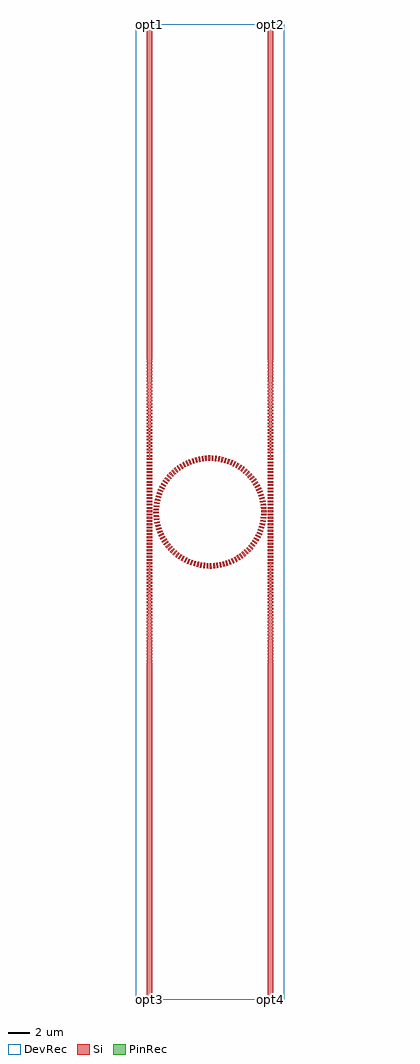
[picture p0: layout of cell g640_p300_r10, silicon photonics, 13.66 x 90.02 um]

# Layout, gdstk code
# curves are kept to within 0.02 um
import gdstk
lib = gdstk.Library(unit=1e-6, precision=1e-09)
def R(c, l, rs):  # rectangles x0, y0, x1, y1
    for r in rs: c.add(gdstk.rectangle(r[:2], r[2:], *l))
def A(c, l, x, y, w, h, nx, ny, dx, dy):  # array of equal rectangles
    R(c, l, [(x+i*dx, y+j*dy, x+i*dx+w, y+j*dy+h) for i in range(nx) for j in range(ny)])
def P(c, l, *ps):  # polygons
    for p in ps: c.add(gdstk.Polygon(p, *l))
Si = (1, 0)
PinRec = (1, 10)
DevRec = (68, 0)

g640_p300_r10 = lib.new_cell('g640_p300_r10')
A(g640_p300_r10, Si, 0, 40.5, 0.5, 0.15, 1, 31, 0, 0.3)
A(g640_p300_r10, Si, 11.16, 40.5, 0.5, 0.15, 1, 31, 0, 0.3)
P(g640_p300_r10, Si, [(0.617,44.847),(0.614,45.005),(1.114,45.005),(1.116,44.862)],
  [(10.468,45.85),(10.441,45.989),(10.93,46.094),(10.96,45.94)],
  [(1.22,45.994),(0.732,46.099),(0.767,46.253),(1.252,46.133)],
  [(10.13,46.935),(10.07,47.064),(10.52,47.283),(10.586,47.14)],
  [(1.592,47.068),(1.143,47.287),(1.214,47.428),(1.656,47.195)],
  [(8.023,49.175),(7.896,49.239),(8.115,49.689),(8.255,49.617)],
  [(3.768,49.241),(3.55,49.691),(3.692,49.757),(3.897,49.301)],
  [(7.767,49.3),(7.636,49.356),(7.828,49.818),(7.972,49.755)],
  [(4.028,49.358),(3.837,49.82),(3.983,49.878),(4.16,49.41)],
  [(7.504,49.409),(7.37,49.457),(7.533,49.93),(7.681,49.876)],
  [(4.294,49.459),(4.131,49.931),(4.281,49.98),(4.43,49.503)],
  [(7.235,49.502),(7.098,49.542),(7.233,50.024),(7.384,49.979)],
  [(4.566,49.543),(4.432,50.025),(4.585,50.065),(4.704,49.579)],
  [(6.96,49.578),(6.822,49.61),(6.927,50.099),(7.08,50.064)],
  [(4.843,49.611),(4.738,50.1),(4.893,50.131),(4.982,49.639)],
  [(6.682,49.638),(6.542,49.662),(6.617,50.156),(6.772,50.13)],
  [(5.123,49.662),(5.048,50.157),(5.204,50.178),(5.264,49.682)],
  [(6.4,49.681),(6.259,49.696),(6.304,50.194),(6.461,50.177)],
  [(5.406,49.696),(5.361,50.194),(5.518,50.206),(5.548,49.707)],
  [(6.117,49.707),(5.975,49.713),(5.99,50.213),(6.147,50.206)],
  [(5.69,49.714),(5.675,50.213),(5.832,50.216),(5.832,49.716)],
  [(10.006,47.191),(9.938,47.316),(10.373,47.561),(10.449,47.423)],
  [(1.724,47.32),(1.289,47.566),(1.369,47.702),(1.796,47.443)],
  [(9.866,47.439),(9.79,47.56),(10.21,47.831),(10.294,47.698)],
  [(10.409,46.128),(10.373,46.266),(10.854,46.4),(10.894,46.248)],
  [(1.289,46.27),(0.807,46.405),(0.852,46.556),(1.329,46.407)],
  [(1.872,47.563),(1.452,47.835),(1.54,47.966),(1.951,47.682)],
  [(9.711,47.678),(9.629,47.794),(10.032,48.09),(10.123,47.962)],
  [(2.034,47.798),(1.631,48.094),(1.727,48.22),(2.12,47.911)],
  [(9.543,47.907),(9.453,48.018),(9.837,48.338),(9.936,48.216)],
  [(10.511,45.568),(10.492,45.709),(10.986,45.785),(11.008,45.628)],
  [(1.169,45.714),(0.674,45.789),(0.701,45.945),(1.192,45.854)],
  [(2.21,48.022),(1.826,48.342),(1.929,48.461),(2.303,48.13)],
  [(10.332,46.403),(10.288,46.538),(10.761,46.701),(10.81,46.551)],
  [(1.374,46.542),(0.901,46.706),(0.955,46.854),(1.422,46.676)],
  [(9.36,48.126),(9.264,48.231),(9.629,48.574),(9.735,48.458)],
  [(2.399,48.235),(2.035,48.578),(2.145,48.691),(2.498,48.337)],
  [(9.165,48.334),(9.063,48.433),(9.406,48.797),(9.519,48.687)],
  [(2.6,48.436),(2.258,48.8),(2.374,48.906),(2.705,48.532)],
  [(8.958,48.529),(8.85,48.622),(9.17,49.006),(9.29,48.903)],
  [(10.546,45),(10.543,45.142),(11.043,45.157),(11.046,45)],
  [(1.117,45.147),(0.617,45.162),(0.624,45.32),(1.123,45.289)],
  [(10.239,46.672),(10.187,46.804),(10.649,46.995),(10.707,46.849)],
  [(1.475,46.808),(1.013,47),(1.076,47.144),(1.531,46.939)],
  [(2.813,48.625),(2.494,49.009),(2.616,49.108),(2.924,48.714)],
  [(8.739,48.711),(8.626,48.797),(8.922,49.2),(9.048,49.105)],
  [(3.038,48.8),(2.742,49.203),(2.87,49.294),(3.154,48.883)],
  [(10.537,45.285),(10.526,45.427),(11.024,45.472),(11.036,45.315)],
  [(1.134,45.431),(0.636,45.477),(0.653,45.633),(1.149,45.573)],
  [(8.51,48.88),(8.392,48.959),(8.663,49.379),(8.794,49.292)],
  [(3.272,48.962),(3.001,49.382),(3.135,49.465),(3.393,49.037)],
  [(8.271,49.035),(8.148,49.107),(8.394,49.542),(8.53,49.463)],
  [(3.516,49.109),(3.271,49.545),(3.409,49.62),(3.641,49.177)],
  [(0,49.8),(0,49.95),(0.218,49.95),(0.214,50.1),(0,50.1),(0,50.25),(0.211,50.25),(0.208,50.4),(0,50.4),(0,50.55),(0.205,50.55),(0.201,50.7),(0,50.7),(0,50.85),(0.198,50.85),(0.195,51),(0,51),(0,51.15),(0.191,51.15),(0.188,51.3),(0,51.3),(0,51.45),(0.185,51.45),(0.181,51.6),(0,51.6),(0,51.75),(0.178,51.75),(0.175,51.9),(0,51.9),(0,52.05),(0.172,52.05),(0.168,52.2),(0,52.2),(0,52.35),(0.165,52.35),(0.162,52.5),(0,52.5),(0,52.65),(0.158,52.65),(0.155,52.8),(0,52.8),(0,52.95),(0.152,52.95),(0.148,53.1),(0,53.1),(0,53.25),(0.145,53.25),(0.142,53.4),(0,53.4),(0,53.55),(0.139,53.55),(0.135,53.7),(0,53.7),(0,53.85),(0.132,53.85),(0.129,54),(0,54),(0,54.15),(0.125,54.15),(0.122,54.3),(0,54.3),(0,54.45),(0.119,54.45),(0.115,54.6),(0,54.6),(0,54.75),(0.112,54.75),(0.109,54.9),(0,54.9),(0,55.05),(0.106,55.05),(0.102,55.2),(0,55.2),(0,55.35),(0.099,55.35),(0.096,55.5),(0,55.5),(0,55.65),(0.092,55.65),(0.089,55.8),(0,55.8),(0,55.95),(0.086,55.95),(0.082,56.1),(0,56.1),(0,56.25),(0.079,56.25),(0.076,56.4),(0,56.4),(0,56.55),(0.073,56.55),(0.069,56.7),(0,56.7),(0,56.85),(0.066,56.85),(0.063,57),(0,57),(0,57.15),(0.059,57.15),(0.056,57.3),(0,57.3),(0,57.45),(0.053,57.45),(0.049,57.6),(0,57.6),(0,57.75),(0.046,57.75),(0.043,57.9),(0,57.9),(0,58.05),(0.04,58.05),(0.036,58.2),(0,58.2),(0,58.35),(0.033,58.35),(0.03,58.5),(0,58.5),(0,58.65),(0.026,58.65),(0.023,58.8),(0,58.8),(0,90),(0.5,90),(0.5,58.8),(0.477,58.8),(0.474,58.65),(0.5,58.65),(0.5,58.5),(0.47,58.5),(0.467,58.35),(0.5,58.35),(0.5,58.2),(0.464,58.2),(0.46,58.05),(0.5,58.05),(0.5,57.9),(0.457,57.9),(0.454,57.75),(0.5,57.75),(0.5,57.6),(0.45,57.6),(0.447,57.45),(0.5,57.45),(0.5,57.3),(0.444,57.3),(0.441,57.15),(0.5,57.15),(0.5,57),(0.437,57),(0.434,56.85),(0.5,56.85),(0.5,56.7),(0.431,56.7),(0.427,56.55),(0.5,56.55),(0.5,56.4),(0.424,56.4),(0.421,56.25),(0.5,56.25),(0.5,56.1),(0.417,56.1),(0.414,55.95),(0.5,55.95),(0.5,55.8),(0.411,55.8),(0.408,55.65),(0.5,55.65),(0.5,55.5),(0.404,55.5),(0.401,55.35),(0.5,55.35),(0.5,55.2),(0.398,55.2),(0.394,55.05),(0.5,55.05),(0.5,54.9),(0.391,54.9),(0.388,54.75),(0.5,54.75),(0.5,54.6),(0.384,54.6),(0.381,54.45),(0.5,54.45),(0.5,54.3),(0.378,54.3),(0.375,54.15),(0.5,54.15),(0.5,54),(0.371,54),(0.368,53.85),(0.5,53.85),(0.5,53.7),(0.365,53.7),(0.361,53.55),(0.5,53.55),(0.5,53.4),(0.358,53.4),(0.355,53.25),(0.5,53.25),(0.5,53.1),(0.351,53.1),(0.348,52.95),(0.5,52.95),(0.5,52.8),(0.345,52.8),(0.342,52.65),(0.5,52.65),(0.5,52.5),(0.338,52.5),(0.335,52.35),(0.5,52.35),(0.5,52.2),(0.332,52.2),(0.328,52.05),(0.5,52.05),(0.5,51.9),(0.325,51.9),(0.322,51.75),(0.5,51.75),(0.5,51.6),(0.318,51.6),(0.315,51.45),(0.5,51.45),(0.5,51.3),(0.312,51.3),(0.309,51.15),(0.5,51.15),(0.5,51),(0.305,51),(0.302,50.85),(0.5,50.85),(0.5,50.7),(0.299,50.7),(0.295,50.55),(0.5,50.55),(0.5,50.4),(0.292,50.4),(0.289,50.25),(0.5,50.25),(0.5,50.1),(0.285,50.1),(0.282,49.95),(0.5,49.95),(0.5,49.8)],
  [(11.16,49.8),(11.16,49.95),(11.378,49.95),(11.374,50.1),(11.16,50.1),(11.16,50.25),(11.371,50.25),(11.368,50.4),(11.16,50.4),(11.16,50.55),(11.365,50.55),(11.361,50.7),(11.16,50.7),(11.16,50.85),(11.358,50.85),(11.355,51),(11.16,51),(11.16,51.15),(11.351,51.15),(11.348,51.3),(11.16,51.3),(11.16,51.45),(11.345,51.45),(11.341,51.6),(11.16,51.6),(11.16,51.75),(11.338,51.75),(11.335,51.9),(11.16,51.9),(11.16,52.05),(11.332,52.05),(11.328,52.2),(11.16,52.2),(11.16,52.35),(11.325,52.35),(11.322,52.5),(11.16,52.5),(11.16,52.65),(11.318,52.65),(11.315,52.8),(11.16,52.8),(11.16,52.95),(11.312,52.95),(11.308,53.1),(11.16,53.1),(11.16,53.25),(11.305,53.25),(11.302,53.4),(11.16,53.4),(11.16,53.55),(11.299,53.55),(11.295,53.7),(11.16,53.7),(11.16,53.85),(11.292,53.85),(11.289,54),(11.16,54),(11.16,54.15),(11.285,54.15),(11.282,54.3),(11.16,54.3),(11.16,54.45),(11.279,54.45),(11.275,54.6),(11.16,54.6),(11.16,54.75),(11.272,54.75),(11.269,54.9),(11.16,54.9),(11.16,55.05),(11.266,55.05),(11.262,55.2),(11.16,55.2),(11.16,55.35),(11.259,55.35),(11.256,55.5),(11.16,55.5),(11.16,55.65),(11.252,55.65),(11.249,55.8),(11.16,55.8),(11.16,55.95),(11.246,55.95),(11.242,56.1),(11.16,56.1),(11.16,56.25),(11.239,56.25),(11.236,56.4),(11.16,56.4),(11.16,56.55),(11.233,56.55),(11.229,56.7),(11.16,56.7),(11.16,56.85),(11.226,56.85),(11.223,57),(11.16,57),(11.16,57.15),(11.219,57.15),(11.216,57.3),(11.16,57.3),(11.16,57.45),(11.213,57.45),(11.209,57.6),(11.16,57.6),(11.16,57.75),(11.206,57.75),(11.203,57.9),(11.16,57.9),(11.16,58.05),(11.2,58.05),(11.196,58.2),(11.16,58.2),(11.16,58.35),(11.193,58.35),(11.19,58.5),(11.16,58.5),(11.16,58.65),(11.186,58.65),(11.183,58.8),(11.16,58.8),(11.16,90),(11.66,90),(11.66,58.8),(11.637,58.8),(11.634,58.65),(11.66,58.65),(11.66,58.5),(11.63,58.5),(11.627,58.35),(11.66,58.35),(11.66,58.2),(11.624,58.2),(11.62,58.05),(11.66,58.05),(11.66,57.9),(11.617,57.9),(11.614,57.75),(11.66,57.75),(11.66,57.6),(11.61,57.6),(11.607,57.45),(11.66,57.45),(11.66,57.3),(11.604,57.3),(11.601,57.15),(11.66,57.15),(11.66,57),(11.597,57),(11.594,56.85),(11.66,56.85),(11.66,56.7),(11.591,56.7),(11.587,56.55),(11.66,56.55),(11.66,56.4),(11.584,56.4),(11.581,56.25),(11.66,56.25),(11.66,56.1),(11.577,56.1),(11.574,55.95),(11.66,55.95),(11.66,55.8),(11.571,55.8),(11.568,55.65),(11.66,55.65),(11.66,55.5),(11.564,55.5),(11.561,55.35),(11.66,55.35),(11.66,55.2),(11.558,55.2),(11.554,55.05),(11.66,55.05),(11.66,54.9),(11.551,54.9),(11.548,54.75),(11.66,54.75),(11.66,54.6),(11.544,54.6),(11.541,54.45),(11.66,54.45),(11.66,54.3),(11.538,54.3),(11.535,54.15),(11.66,54.15),(11.66,54),(11.531,54),(11.528,53.85),(11.66,53.85),(11.66,53.7),(11.525,53.7),(11.521,53.55),(11.66,53.55),(11.66,53.4),(11.518,53.4),(11.515,53.25),(11.66,53.25),(11.66,53.1),(11.511,53.1),(11.508,52.95),(11.66,52.95),(11.66,52.8),(11.505,52.8),(11.502,52.65),(11.66,52.65),(11.66,52.5),(11.498,52.5),(11.495,52.35),(11.66,52.35),(11.66,52.2),(11.492,52.2),(11.488,52.05),(11.66,52.05),(11.66,51.9),(11.485,51.9),(11.482,51.75),(11.66,51.75),(11.66,51.6),(11.478,51.6),(11.475,51.45),(11.66,51.45),(11.66,51.3),(11.472,51.3),(11.469,51.15),(11.66,51.15),(11.66,51),(11.465,51),(11.462,50.85),(11.66,50.85),(11.66,50.7),(11.459,50.7),(11.455,50.55),(11.66,50.55),(11.66,50.4),(11.452,50.4),(11.449,50.25),(11.66,50.25),(11.66,50.1),(11.445,50.1),(11.442,49.95),(11.66,49.95),(11.66,49.8)],
  [(1.284,42.443),(1.209,42.581),(1.652,42.813),(1.72,42.688)],
  [(10.444,42.568),(10.002,42.801),(10.066,42.928),(10.515,42.708)],
  [(1.138,42.722),(1.072,42.865),(1.528,43.069),(1.588,42.94)],
  [(10.582,42.851),(10.127,43.057),(10.183,43.188),(10.645,42.995)],
  [(1.009,43.009),(0.951,43.156),(1.419,43.333),(1.471,43.2)],
  [(10.703,43.142),(10.236,43.32),(10.285,43.454),(10.757,43.29)],
  [(0.898,43.304),(0.849,43.454),(1.326,43.602),(1.371,43.466)],
  [(10.807,43.439),(10.33,43.589),(10.37,43.725),(10.852,43.59)],
  [(0.804,43.605),(0.765,43.757),(1.25,43.876),(1.286,43.738)],
  [(10.892,43.743),(10.407,43.863),(10.439,44.002),(10.927,43.896)],
  [(0.729,43.911),(0.699,44.065),(1.191,44.155),(1.218,44.015)],
  [(10.958,44.05),(10.467,44.141),(10.491,44.282),(10.985,44.206)],
  [(0.673,44.22),(0.652,44.376),(1.148,44.436),(1.167,44.295)],
  [(11.006,44.362),(10.51,44.423),(10.525,44.564),(11.023,44.518)],
  [(0.635,44.533),(0.624,44.69),(1.123,44.72),(1.133,44.578)],
  [(11.036,44.675),(10.536,44.706),(10.543,44.849),(11.043,44.833)],
  [(5.823,39.784),(5.823,40.284),(5.966,40.286),(5.98,39.787)],
  [(5.665,39.787),(5.508,39.794),(5.539,40.293),(5.681,40.287)],
  [(6.137,39.793),(6.108,40.293),(6.25,40.303),(6.294,39.805)],
  [(5.351,39.806),(5.194,39.823),(5.255,40.32),(5.397,40.304)],
  [(6.451,39.821),(6.392,40.318),(6.533,40.337),(6.607,39.843)],
  [(0,0),(0,31.35),(0.023,31.35),(0.026,31.5),(0,31.5),(0,31.65),(0.03,31.65),(0.033,31.8),(0,31.8),(0,31.95),(0.036,31.95),(0.04,32.1),(0,32.1),(0,32.25),(0.043,32.25),(0.046,32.4),(0,32.4),(0,32.55),(0.049,32.55),(0.053,32.7),(0,32.7),(0,32.85),(0.056,32.85),(0.059,33),(0,33),(0,33.15),(0.063,33.15),(0.066,33.3),(0,33.3),(0,33.45),(0.069,33.45),(0.073,33.6),(0,33.6),(0,33.75),(0.076,33.75),(0.079,33.9),(0,33.9),(0,34.05),(0.082,34.05),(0.086,34.2),(0,34.2),(0,34.35),(0.089,34.35),(0.092,34.5),(0,34.5),(0,34.65),(0.096,34.65),(0.099,34.8),(0,34.8),(0,34.95),(0.102,34.95),(0.106,35.1),(0,35.1),(0,35.25),(0.109,35.25),(0.112,35.4),(0,35.4),(0,35.55),(0.115,35.55),(0.119,35.7),(0,35.7),(0,35.85),(0.122,35.85),(0.125,36),(0,36),(0,36.15),(0.129,36.15),(0.132,36.3),(0,36.3),(0,36.45),(0.135,36.45),(0.139,36.6),(0,36.6),(0,36.75),(0.142,36.75),(0.145,36.9),(0,36.9),(0,37.05),(0.148,37.05),(0.152,37.2),(0,37.2),(0,37.35),(0.155,37.35),(0.158,37.5),(0,37.5),(0,37.65),(0.162,37.65),(0.165,37.8),(0,37.8),(0,37.95),(0.168,37.95),(0.172,38.1),(0,38.1),(0,38.25),(0.175,38.25),(0.178,38.4),(0,38.4),(0,38.55),(0.181,38.55),(0.185,38.7),(0,38.7),(0,38.85),(0.188,38.85),(0.191,39),(0,39),(0,39.15),(0.195,39.15),(0.198,39.3),(0,39.3),(0,39.45),(0.201,39.45),(0.205,39.6),(0,39.6),(0,39.75),(0.208,39.75),(0.211,39.9),(0,39.9),(0,40.05),(0.214,40.05),(0.218,40.2),(0,40.2),(0,40.35),(0.5,40.35),(0.5,40.2),(0.282,40.2),(0.285,40.05),(0.5,40.05),(0.5,39.9),(0.289,39.9),(0.292,39.75),(0.5,39.75),(0.5,39.6),(0.295,39.6),(0.299,39.45),(0.5,39.45),(0.5,39.3),(0.302,39.3),(0.305,39.15),(0.5,39.15),(0.5,39),(0.309,39),(0.312,38.85),(0.5,38.85),(0.5,38.7),(0.315,38.7),(0.318,38.55),(0.5,38.55),(0.5,38.4),(0.322,38.4),(0.325,38.25),(0.5,38.25),(0.5,38.1),(0.328,38.1),(0.332,37.95),(0.5,37.95),(0.5,37.8),(0.335,37.8),(0.338,37.65),(0.5,37.65),(0.5,37.5),(0.342,37.5),(0.345,37.35),(0.5,37.35),(0.5,37.2),(0.348,37.2),(0.351,37.05),(0.5,37.05),(0.5,36.9),(0.355,36.9),(0.358,36.75),(0.5,36.75),(0.5,36.6),(0.361,36.6),(0.365,36.45),(0.5,36.45),(0.5,36.3),(0.368,36.3),(0.371,36.15),(0.5,36.15),(0.5,36),(0.375,36),(0.378,35.85),(0.5,35.85),(0.5,35.7),(0.381,35.7),(0.384,35.55),(0.5,35.55),(0.5,35.4),(0.388,35.4),(0.391,35.25),(0.5,35.25),(0.5,35.1),(0.394,35.1),(0.398,34.95),(0.5,34.95),(0.5,34.8),(0.401,34.8),(0.404,34.65),(0.5,34.65),(0.5,34.5),(0.408,34.5),(0.411,34.35),(0.5,34.35),(0.5,34.2),(0.414,34.2),(0.417,34.05),(0.5,34.05),(0.5,33.9),(0.421,33.9),(0.424,33.75),(0.5,33.75),(0.5,33.6),(0.427,33.6),(0.431,33.45),(0.5,33.45),(0.5,33.3),(0.434,33.3),(0.437,33.15),(0.5,33.15),(0.5,33),(0.441,33),(0.444,32.85),(0.5,32.85),(0.5,32.7),(0.447,32.7),(0.45,32.55),(0.5,32.55),(0.5,32.4),(0.454,32.4),(0.457,32.25),(0.5,32.25),(0.5,32.1),(0.46,32.1),(0.464,31.95),(0.5,31.95),(0.5,31.8),(0.467,31.8),(0.47,31.65),(0.5,31.65),(0.5,31.5),(0.474,31.5),(0.477,31.35),(0.5,31.35),(0.5,0)],
  [(11.16,0),(11.16,31.35),(11.183,31.35),(11.186,31.5),(11.16,31.5),(11.16,31.65),(11.19,31.65),(11.193,31.8),(11.16,31.8),(11.16,31.95),(11.196,31.95),(11.2,32.1),(11.16,32.1),(11.16,32.25),(11.203,32.25),(11.206,32.4),(11.16,32.4),(11.16,32.55),(11.209,32.55),(11.213,32.7),(11.16,32.7),(11.16,32.85),(11.216,32.85),(11.219,33),(11.16,33),(11.16,33.15),(11.223,33.15),(11.226,33.3),(11.16,33.3),(11.16,33.45),(11.229,33.45),(11.233,33.6),(11.16,33.6),(11.16,33.75),(11.236,33.75),(11.239,33.9),(11.16,33.9),(11.16,34.05),(11.242,34.05),(11.246,34.2),(11.16,34.2),(11.16,34.35),(11.249,34.35),(11.252,34.5),(11.16,34.5),(11.16,34.65),(11.256,34.65),(11.259,34.8),(11.16,34.8),(11.16,34.95),(11.262,34.95),(11.266,35.1),(11.16,35.1),(11.16,35.25),(11.269,35.25),(11.272,35.4),(11.16,35.4),(11.16,35.55),(11.275,35.55),(11.279,35.7),(11.16,35.7),(11.16,35.85),(11.282,35.85),(11.285,36),(11.16,36),(11.16,36.15),(11.289,36.15),(11.292,36.3),(11.16,36.3),(11.16,36.45),(11.295,36.45),(11.299,36.6),(11.16,36.6),(11.16,36.75),(11.302,36.75),(11.305,36.9),(11.16,36.9),(11.16,37.05),(11.308,37.05),(11.312,37.2),(11.16,37.2),(11.16,37.35),(11.315,37.35),(11.318,37.5),(11.16,37.5),(11.16,37.65),(11.322,37.65),(11.325,37.8),(11.16,37.8),(11.16,37.95),(11.328,37.95),(11.332,38.1),(11.16,38.1),(11.16,38.25),(11.335,38.25),(11.338,38.4),(11.16,38.4),(11.16,38.55),(11.341,38.55),(11.345,38.7),(11.16,38.7),(11.16,38.85),(11.348,38.85),(11.351,39),(11.16,39),(11.16,39.15),(11.355,39.15),(11.358,39.3),(11.16,39.3),(11.16,39.45),(11.361,39.45),(11.365,39.6),(11.16,39.6),(11.16,39.75),(11.368,39.75),(11.371,39.9),(11.16,39.9),(11.16,40.05),(11.374,40.05),(11.378,40.2),(11.16,40.2),(11.16,40.35),(11.66,40.35),(11.66,40.2),(11.442,40.2),(11.445,40.05),(11.66,40.05),(11.66,39.9),(11.449,39.9),(11.452,39.75),(11.66,39.75),(11.66,39.6),(11.455,39.6),(11.459,39.45),(11.66,39.45),(11.66,39.3),(11.462,39.3),(11.465,39.15),(11.66,39.15),(11.66,39),(11.469,39),(11.472,38.85),(11.66,38.85),(11.66,38.7),(11.475,38.7),(11.478,38.55),(11.66,38.55),(11.66,38.4),(11.482,38.4),(11.485,38.25),(11.66,38.25),(11.66,38.1),(11.488,38.1),(11.492,37.95),(11.66,37.95),(11.66,37.8),(11.495,37.8),(11.498,37.65),(11.66,37.65),(11.66,37.5),(11.502,37.5),(11.505,37.35),(11.66,37.35),(11.66,37.2),(11.508,37.2),(11.511,37.05),(11.66,37.05),(11.66,36.9),(11.515,36.9),(11.518,36.75),(11.66,36.75),(11.66,36.6),(11.521,36.6),(11.525,36.45),(11.66,36.45),(11.66,36.3),(11.528,36.3),(11.531,36.15),(11.66,36.15),(11.66,36),(11.535,36),(11.538,35.85),(11.66,35.85),(11.66,35.7),(11.541,35.7),(11.544,35.55),(11.66,35.55),(11.66,35.4),(11.548,35.4),(11.551,35.25),(11.66,35.25),(11.66,35.1),(11.554,35.1),(11.558,34.95),(11.66,34.95),(11.66,34.8),(11.561,34.8),(11.564,34.65),(11.66,34.65),(11.66,34.5),(11.568,34.5),(11.571,34.35),(11.66,34.35),(11.66,34.2),(11.574,34.2),(11.577,34.05),(11.66,34.05),(11.66,33.9),(11.581,33.9),(11.584,33.75),(11.66,33.75),(11.66,33.6),(11.587,33.6),(11.591,33.45),(11.66,33.45),(11.66,33.3),(11.594,33.3),(11.597,33.15),(11.66,33.15),(11.66,33),(11.601,33),(11.604,32.85),(11.66,32.85),(11.66,32.7),(11.607,32.7),(11.61,32.55),(11.66,32.55),(11.66,32.4),(11.614,32.4),(11.617,32.25),(11.66,32.25),(11.66,32.1),(11.62,32.1),(11.624,31.95),(11.66,31.95),(11.66,31.8),(11.627,31.8),(11.63,31.65),(11.66,31.65),(11.66,31.5),(11.634,31.5),(11.637,31.35),(11.66,31.35),(11.66,0)],
  [(5.038,39.845),(4.883,39.871),(4.974,40.363),(5.114,40.339)],
  [(6.763,39.868),(6.673,40.36),(6.813,40.388),(6.917,39.899)],
  [(4.728,39.902),(4.575,39.938),(4.695,40.423),(4.834,40.391)],
  [(7.071,39.934),(6.952,40.42),(7.089,40.456),(7.223,39.974)],
  [(4.423,39.978),(4.272,40.023),(4.421,40.5),(4.558,40.459)],
  [(7.374,40.018),(7.226,40.496),(7.361,40.54),(7.524,40.067)],
  [(4.122,40.072),(3.974,40.126),(4.152,40.593),(4.286,40.544)],
  [(7.672,40.12),(7.495,40.588),(7.628,40.641),(7.818,40.178)],
  [(3.828,40.184),(3.683,40.247),(3.889,40.702),(4.02,40.646)],
  [(7.963,40.241),(7.759,40.697),(7.888,40.757),(8.106,40.307)],
  [(3.541,40.314),(3.4,40.385),(3.633,40.827),(3.76,40.763)],
  [(8.247,40.378),(8.015,40.821),(8.14,40.889),(8.385,40.453)],
  [(3.262,40.46),(3.126,40.54),(3.385,40.968),(3.508,40.896)],
  [(8.521,40.532),(8.263,40.961),(8.384,41.036),(8.655,40.616)],
  [(2.993,40.624),(2.862,40.711),(3.146,41.122),(3.265,41.043)],
  [(8.786,40.703),(8.503,41.115),(8.619,41.197),(8.914,40.794)],
  [(2.734,40.803),(2.608,40.898),(2.917,41.292),(3.031,41.205)],
  [(9.04,40.889),(8.732,41.283),(8.843,41.373),(9.163,40.988)],
  [(2.486,40.997),(2.367,41.1),(2.699,41.474),(2.807,41.381)],
  [(9.282,41.09),(8.951,41.465),(9.057,41.561),(9.399,41.196)],
  [(2.25,41.207),(2.138,41.316),(2.492,41.67),(2.594,41.57)],
  [(9.512,41.306),(9.159,41.66),(9.258,41.762),(9.622,41.419)],
  [(2.028,41.43),(1.922,41.546),(2.297,41.877),(2.393,41.772)],
  [(9.728,41.535),(9.354,41.867),(9.447,41.975),(9.831,41.654)],
  [(1.819,41.666),(1.721,41.788),(2.115,42.096),(2.204,41.985)],
  [(9.93,41.776),(9.537,42.085),(9.623,42.199),(10.026,41.902)],
  [(1.626,41.914),(1.534,42.042),(1.946,42.326),(2.029,42.21)],
  [(10.117,42.03),(9.706,42.315),(9.786,42.433),(10.205,42.161)],
  [(1.447,42.173),(1.364,42.307),(1.792,42.565),(1.867,42.444)],
  [(10.289,42.294),(9.861,42.553),(9.933,42.676),(10.368,42.43)])
R(g640_p300_r10, DevRec, [(-1,0,12.66,90)])
g640_p300_r10.add(gdstk.FlexPath([(0.25,89.99),(0.25,90.01)], 0.5, ends="flush", simple_path=True, layer=1, datatype=10))  # PinRec
g640_p300_r10.add(gdstk.FlexPath([(11.41,89.99),(11.41,90.01)], 0.5, ends="flush", simple_path=True, layer=1, datatype=10))  # PinRec
g640_p300_r10.add(gdstk.FlexPath([(0.25,0.01),(0.25,-0.01)], 0.5, ends="flush", simple_path=True, layer=1, datatype=10))  # PinRec
g640_p300_r10.add(gdstk.FlexPath([(11.41,0.01),(11.41,-0.01)], 0.5, ends="flush", simple_path=True, layer=1, datatype=10))  # PinRec
g640_p300_r10.add(gdstk.Label('opt1', (0.25,90), layer=1, texttype=10))
g640_p300_r10.add(gdstk.Label('opt2', (11.41,90), layer=1, texttype=10))
g640_p300_r10.add(gdstk.Label('opt3', (0.25,0), layer=1, texttype=10))
g640_p300_r10.add(gdstk.Label('opt4', (11.41,0), layer=1, texttype=10))

lib.write_gds('g640_p300_r10.gds')
